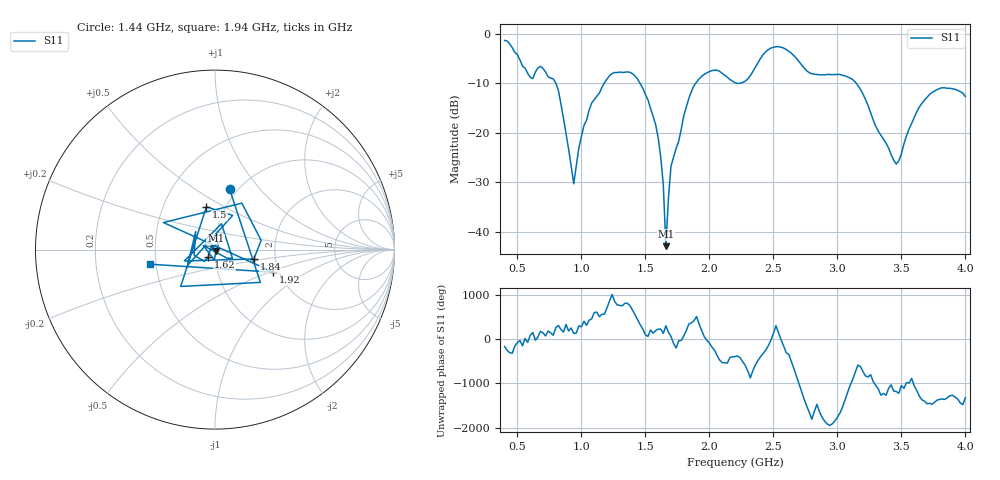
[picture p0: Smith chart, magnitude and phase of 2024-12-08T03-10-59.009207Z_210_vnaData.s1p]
!Created with skrf (http://scikit-rf.org).
# Hz S RI R 50.0
!freq ReS11 ImS11
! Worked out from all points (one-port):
!   181 points, 400 MHz to 4 GHz, reference 50 ohm
!   lowest |S11| = -42.9 dB at 1.66 GHz (marker M1), VSWR 1.01, Z = 50.4 - j0.585 ohm
!   |S11| at or under -10 dB: 800.4 MHz to 1.178 GHz (377.8 MHz wide, 38.2 % of centre); 1.457 GHz to 1.894 GHz (436.2 MHz wide, 26 % of centre); 3.147 GHz to end of sweep (the widest 3 of 4)
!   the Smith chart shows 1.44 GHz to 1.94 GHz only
!   S11 on the Smith chart (normalised r, x): 1.44 GHz: 0.92, +0.70; 1.5 GHz: 0.81, +0.41; 1.62 GHz: 0.92, -0.08; 1.84 GHz: 1.54, -0.17; 1.92 GHz: 1.87, -0.54; 1.94 GHz: 0.46, -0.09
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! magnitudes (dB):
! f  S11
! 400 MHz  -1.4
! 600 MHz  -8.8
! 680 MHz  -6.6
! 780 MHz  -9.1
! 860 MHz  -17.1
! 940 MHz  -30.3
! 980 MHz  -23.1
! 1.08 GHz  -14.0
! 1.3 GHz  -7.8
! 1.44 GHz  -9.2
! 1.5 GHz  -12.3
! 1.58 GHz  -18.4
! 1.62 GHz  -25.0
! 1.64 GHz  -30.6
! 1.66 GHz  -42.9
! 1.7 GHz  -26.7
! 1.76 GHz  -21.8
! 1.84 GHz  -13.0
! 1.92 GHz  -9.1
! 1.94 GHz  -8.6
! 2.2 GHz  -9.9
! 2.48 GHz  -2.9
! 2.66 GHz  -4.4
! 3.1 GHz  -9.0
! 3.46 GHz  -26.3
! 3.56 GHz  -19.3
! 3.76 GHz  -11.6
! 4 GHz  -12.7
